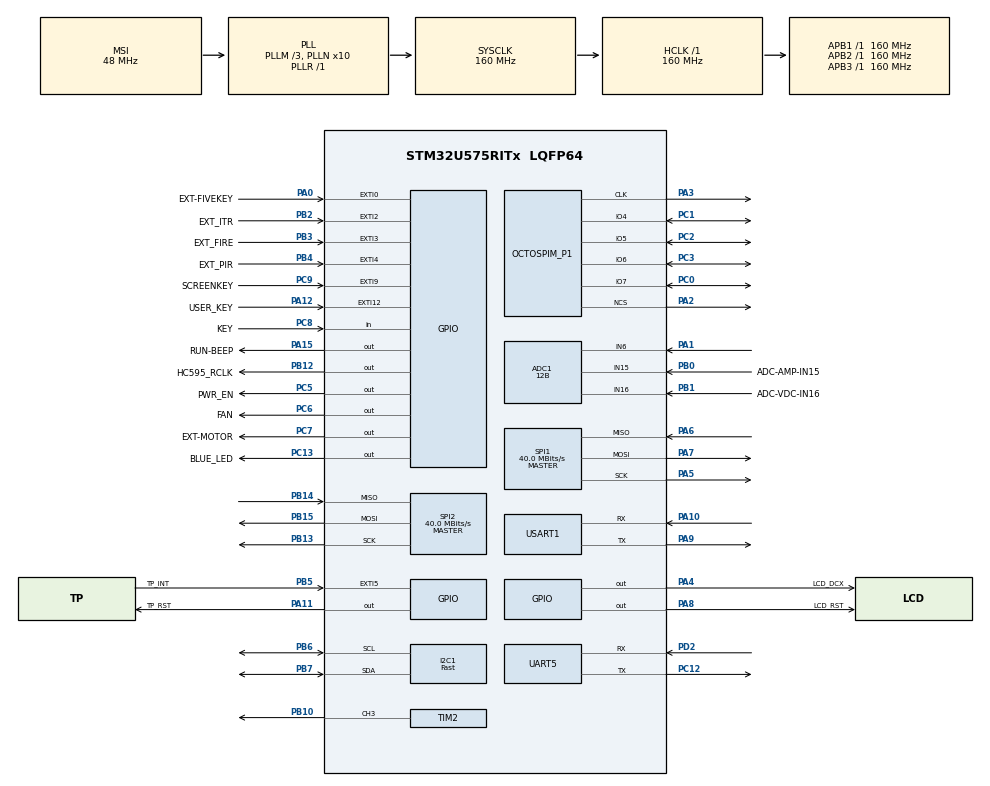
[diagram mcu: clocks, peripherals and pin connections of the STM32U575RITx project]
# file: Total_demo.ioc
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ADC1.Channel-0\#ChannelRegularConversion=ADC_CHANNEL_6
ADC1.Channel-1\#ChannelRegularConversion=ADC_CHANNEL_15
ADC1.Channel-2\#ChannelRegularConversion=ADC_CHANNEL_16
ADC1.Channel-3\#ChannelRegularConversion=ADC_CHANNEL_TEMPSENSOR
ADC1.Channel-4\#ChannelRegularConversion=ADC_CHANNEL_VREFINT
ADC1.Channel-5\#ChannelRegularConversion=ADC_CHANNEL_VBAT
ADC1.ClockPrescaler=ADC_CLOCK_ASYNC_DIV1
ADC1.ContinuousConvMode=ENABLE
ADC1.ConversionDataManagement=ADC_CONVERSIONDATA_DMA_CIRCULAR
ADC1.EnableInjectedConversion=DISABLE
ADC1.EnableRegularConversion=ENABLE
ADC1.MonitoredBy-0\#ChannelRegularConversion=__NULL
ADC1.MonitoredBy-1\#ChannelRegularConversion=__NULL
ADC1.MonitoredBy-2\#ChannelRegularConversion=__NULL
ADC1.MonitoredBy-3\#ChannelRegularConversion=__NULL
ADC1.MonitoredBy-4\#ChannelRegularConversion=__NULL
ADC1.MonitoredBy-5\#ChannelRegularConversion=__NULL
ADC1.NbrOfConversion=6
ADC1.NbrOfConversionFlag=1
ADC1.OffsetNumber-0\#ChannelRegularConversion=ADC_OFFSET_NONE
ADC1.OffsetNumber-1\#ChannelRegularConversion=ADC_OFFSET_NONE
ADC1.OffsetNumber-2\#ChannelRegularConversion=ADC_OFFSET_NONE
ADC1.OffsetNumber-3\#ChannelRegularConversion=ADC_OFFSET_NONE
ADC1.OffsetNumber-4\#ChannelRegularConversion=ADC_OFFSET_NONE
ADC1.OffsetNumber-5\#ChannelRegularConversion=ADC_OFFSET_NONE
ADC1.Rank-0\#ChannelRegularConversion=1
ADC1.Rank-1\#ChannelRegularConversion=2
ADC1.Rank-2\#ChannelRegularConversion=3
ADC1.Rank-3\#ChannelRegularConversion=4
ADC1.Rank-4\#ChannelRegularConversion=5
ADC1.Rank-5\#ChannelRegularConversion=6
ADC1.Resolution=ADC_RESOLUTION_12B
ADC1.SamplingTime-0\#ChannelRegularConversion=ADC_SAMPLETIME_391CYCLES_5
ADC1.SamplingTime-1\#ChannelRegularConversion=ADC_SAMPLETIME_391CYCLES_5
ADC1.SamplingTime-2\#ChannelRegularConversion=ADC_SAMPLETIME_391CYCLES_5
ADC1.SamplingTime-3\#ChannelRegularConversion=ADC_SAMPLETIME_391CYCLES_5
ADC1.SamplingTime-4\#ChannelRegularConversion=ADC_SAMPLETIME_391CYCLES_5
ADC1.SamplingTime-5\#ChannelRegularConversion=ADC_SAMPLETIME_391CYCLES_5
ADC1.master=1
CORTEX_M33_NS.userName=CORTEX_M33
GPDMA1.CIRCULARMODE_GPDMACH1=ENABLE
GPDMA1.DESTDATAWIDTH_GPDMACH0=DMA_DEST_DATAWIDTH_HALFWORD
GPDMA1.DESTDATAWIDTH_GPDMACH1=DMA_DEST_DATAWIDTH_HALFWORD
GPDMA1.DESTINC_GPDMACH1=DMA_DINC_INCREMENTED
GPDMA1.DIRECTION_GPDMACH0=DMA_MEMORY_TO_PERIPH
GPDMA1.IPHANDLE_GPDMACH0-SIMPLEREQUEST_GPDMACH0=__NULL
GPDMA1.IPHANDLE_GPDMACH1-SIMPLEREQUEST_GPDMACH1=__NULL
GPDMA1.LINKALLOCATEDPORT_CIRCULAR_GPDMACH1=DMA_LINK_ALLOCATED_PORT1
GPDMA1.PRIORITY_GPDMACH0=DMA_LOW_PRIORITY_HIGH_WEIGHT
GPDMA1.PRIORITY_LL_CIRCULAR_GPDMACH1=DMA_LOW_PRIORITY_HIGH_WEIGHT
GPDMA1.RECAP_GPDMACH1=GPDMA1_REQUEST_ADC1
GPDMA1.REQUEST_GPDMACH0=GPDMA1_REQUEST_SPI1_TX
GPDMA1.REQUEST_GPDMACH1=GPDMA1_REQUEST_ADC1
GPDMA1.SRCDATAWIDTH_GPDMACH0=DMA_SRC_DATAWIDTH_HALFWORD
GPDMA1.SRCDATAWIDTH_GPDMACH1=DMA_SRC_DATAWIDTH_HALFWORD
GPDMA1.SRCINC_GPDMACH0=DMA_SINC_INCREMENTED
GPDMA1.TRANSFERALLOCATEDPORTDEST_GPDMACH0=DMA_DEST_ALLOCATED_PORT1
GPDMA1.TRANSFERALLOCATEDPORTDEST_GPDMACH1=DMA_DEST_ALLOCATED_PORT1
GPDMA1.TRANSFERALLOCATEDPORTSRC_GPDMACH1=DMA_SRC_ALLOCATED_PORT1
I2C1.I2C_Speed_Mode=I2C_Fast
I2C1.Timing=0x00F07BFF
Mcu.Family=STM32U5
Mcu.Name=STM32U575RITx
Mcu.Package=LQFP64
NVIC.EXTI0_IRQn=true\:10\:0\:true\:false\:true\:true\:true\:true
NVIC.EXTI12_IRQn=true\:12\:0\:true\:false\:true\:true\:true\:true
NVIC.EXTI2_IRQn=true\:10\:0\:true\:false\:true\:true\:true\:true
NVIC.EXTI3_IRQn=true\:10\:0\:true\:false\:true\:true\:true\:true
NVIC.EXTI4_IRQn=true\:10\:0\:true\:false\:true\:true\:true\:true
NVIC.EXTI5_IRQn=true\:10\:0\:true\:false\:true\:true\:true\:true
NVIC.EXTI9_IRQn=true\:10\:0\:true\:false\:true\:true\:true\:true
NVIC.GPDMA1_Channel0_IRQn=true\:0\:0\:false\:false\:true\:false\:true\:true
NVIC.GPDMA1_Channel1_IRQn=true\:0\:0\:false\:false\:true\:false\:true\:true
NVIC.PriorityGroup=NVIC_PRIORITYGROUP_4
NVIC.SPI1_IRQn=true\:0\:0\:false\:false\:true\:true\:true\:true
NVIC.TIM16_IRQn=true\:13\:0\:true\:false\:true\:true\:true\:true
NVIC.TIM17_IRQn=true\:14\:0\:true\:false\:true\:true\:true\:true
NVIC.UART5_IRQn=true\:1\:0\:true\:false\:true\:true\:true\:true
OCTOSPI1.ClockMode=HAL_OSPI_CLOCK_MODE_3
OCTOSPI1.ClockPrescaler=2
OCTOSPI1.DeviceSize=24
OCTOSPI1.FifoThreshold=8
OCTOSPI1.SampleShifting=HAL_OSPI_SAMPLE_SHIFTING_HALFCYCLE
PA0.GPIO_Label=EXT-FIVEKEY
PA0.Signal=GPXTI0
PA1.Mode=IN6-Single-Ended
PA1.Signal=ADC1_IN6
PA10.Mode=Asynchronous
PA10.Signal=USART1_RX
PA11.GPIO_Label=TP_RST
PA11.Signal=GPIO_Output
PA12.GPIO_Label=USER_KEY
PA12.GPIO_ModeDefaultEXTI=GPIO_MODE_IT_FALLING
PA12.Signal=GPXTI12
PA15\ (JTDI).GPIO_Label=RUN-BEEP
PA15\ (JTDI).Signal=GPIO_Output
PA2.Mode=OCTOSPI1_Port1_NCS
PA2.Signal=OCTOSPIM_P1_NCS
PA3.Mode=O1_P1_CLK
PA3.Signal=OCTOSPIM_P1_CLK
PA4.GPIO_Label=LCD_DCX
PA4.GPIO_Speed=GPIO_SPEED_FREQ_VERY_HIGH
PA4.Signal=GPIO_Output
PA5.GPIO_Speed=GPIO_SPEED_FREQ_VERY_HIGH
PA5.Mode=Full_Duplex_Master
PA5.Signal=SPI1_SCK
PA6.GPIO_Speed=GPIO_SPEED_FREQ_VERY_HIGH
PA6.Mode=Full_Duplex_Master
PA6.Signal=SPI1_MISO
PA7.GPIO_Speed=GPIO_SPEED_FREQ_VERY_HIGH
PA7.Mode=Full_Duplex_Master
PA7.Signal=SPI1_MOSI
PA8.GPIO_Label=LCD_RST
PA8.GPIO_Speed=GPIO_SPEED_FREQ_HIGH
PA8.Signal=GPIO_Output
PA9.Mode=Asynchronous
PA9.Signal=USART1_TX
PB0.GPIO_Label=ADC-AMP-IN15
PB0.Mode=IN15-Single-Ended
PB0.Signal=ADC1_IN15
PB1.GPIO_Label=ADC-VDC-IN16
PB1.Mode=IN16-Single-Ended
PB1.Signal=ADC1_IN16
PB10.Signal=S_TIM2_CH3
PB12.GPIO_Label=HC595_RCLK
PB12.GPIO_Speed=GPIO_SPEED_FREQ_HIGH
PB12.Signal=GPIO_Output
PB13.GPIO_Speed=GPIO_SPEED_FREQ_VERY_HIGH
PB13.Mode=Full_Duplex_Master
PB13.Signal=SPI2_SCK
PB14.GPIO_Speed=GPIO_SPEED_FREQ_VERY_HIGH
PB14.Mode=Full_Duplex_Master
PB14.Signal=SPI2_MISO
PB15.GPIO_Speed=GPIO_SPEED_FREQ_VERY_HIGH
PB15.Mode=Full_Duplex_Master
PB15.Signal=SPI2_MOSI
PB2.GPIO_Label=EXT_ITR
PB2.GPIO_ModeDefaultEXTI=GPIO_MODE_IT_RISING_FALLING
PB2.Signal=GPXTI2
PB3\ (JTDO/TRACESWO).GPIO_Label=EXT_FIRE
PB3\ (JTDO/TRACESWO).GPIO_ModeDefaultEXTI=GPIO_MODE_IT_RISING_FALLING
PB3\ (JTDO/TRACESWO).Signal=GPXTI3
PB4\ (NJTRST).GPIO_Label=EXT_PIR
PB4\ (NJTRST).GPIO_ModeDefaultEXTI=GPIO_MODE_IT_RISING_FALLING
PB4\ (NJTRST).Signal=GPXTI4
PB5.GPIO_Label=TP_INT
PB5.GPIO_ModeDefaultEXTI=GPIO_MODE_IT_RISING_FALLING
PB5.GPIO_PuPd=GPIO_PULLUP
PB5.Signal=GPXTI5
PB6.Mode=I2C
PB6.Signal=I2C1_SCL
PB7.Mode=I2C
PB7.Signal=I2C1_SDA
PC0.Mode=OCTOSPI1_IOL_Port1H
PC0.Signal=OCTOSPIM_P1_IO7
PC1.Mode=OCTOSPI1_IOL_Port1H
PC1.Signal=OCTOSPIM_P1_IO4
PC12.Mode=Asynchronous
PC12.Signal=UART5_TX
PC13.GPIO_Label=BLUE_LED
PC13.Signal=GPIO_Output
PC14-OSC32_IN\ (PC14).Mode=LSE-External-Oscillator
PC14-OSC32_IN\ (PC14).Signal=RCC_OSC32_IN
PC15-OSC32_OUT\ (PC15).Mode=LSE-External-Oscillator
PC15-OSC32_OUT\ (PC15).Signal=RCC_OSC32_OUT
PC2.Mode=OCTOSPI1_IOL_Port1H
PC2.Signal=OCTOSPIM_P1_IO5
PC3.Mode=OCTOSPI1_IOL_Port1H
PC3.Signal=OCTOSPIM_P1_IO6
PC5.GPIO_Label=PWR_EN
PC5.PinState=GPIO_PIN_SET
PC5.Signal=GPIO_Output
PC6.GPIO_Label=FAN
PC6.Signal=GPIO_Output
PC7.GPIO_Label=EXT-MOTOR
PC7.Signal=GPIO_Output
PC8.GPIO_Label=KEY
PC8.Signal=GPIO_Input
PC9.GPIO_Label=SCREENKEY
PC9.GPIO_ModeDefaultEXTI=GPIO_MODE_IT_RISING_FALLING
PC9.Signal=GPXTI9
PD2.Mode=Asynchronous
PD2.Signal=UART5_RX
PH0-OSC_IN\ (PH0).Mode=HSE-External-Oscillator
PH0-OSC_IN\ (PH0).Signal=RCC_OSC_IN
PH1-OSC_OUT\ (PH1).Mode=HSE-External-Oscillator
PH1-OSC_OUT\ (PH1).Signal=RCC_OSC_OUT
ProjectManager.HeapSize=0x400
ProjectManager.StackSize=0x400
ProjectManager.TargetToolchain=MDK-ARM V5.32
RCC.ADCFreq_Value=16000000
RCC.AHBFreq_Value=160000000
RCC.APB1Freq_Value=160000000
RCC.APB1TimFreq_Value=160000000
RCC.APB2Freq_Value=160000000
RCC.APB2TimFreq_Value=160000000
RCC.APB3Freq_Value=160000000
RCC.CortexFreq_Value=160000000
RCC.EPOD_VALUE=48000000
RCC.HCLKFreq_Value=160000000
RCC.HSE_VALUE=12000000
RCC.HSI48_VALUE=48000000
RCC.HSI_VALUE=16000000
RCC.LSIDIV_VALUE=32000
RCC.MSIClockRange=RCC_MSIRANGE_0
RCC.MSI_VALUE=48000000
RCC.PLL1R=1
RCC.PLL2FRACN=0
RCC.PLL3FRACN=0
RCC.PLLFRACN=0
RCC.PLLM=3
RCC.PLLN=10
RCC.SYSCLKFreq_VALUE=160000000
RCC.SYSCLKSource=RCC_SYSCLKSOURCE_PLLCLK
RCC.USBFreq_Value=48000000
RCC.VCOOutputFreq_Value=160000000
RTC.Date=11
RTC.Format=RTC_FORMAT_BIN
RTC.Hours=15
RTC.Minutes=36
RTC.Month=RTC_MONTH_JULY
RTC.WeekDay=RTC_WEEKDAY_TUESDAY
RTC.Year=23
SH.S_TIM2_CH3.0=TIM2_CH3,PWM Generation3 CH3
SPI1.BaudRatePrescaler=SPI_BAUDRATEPRESCALER_4
SPI1.CalculateBaudRate=40.0 MBits/s
SPI1.DataSize=SPI_DATASIZE_8BIT
SPI1.Direction=SPI_DIRECTION_2LINES
SPI1.Mode=SPI_MODE_MASTER
SPI1.VirtualType=VM_MASTER
SPI2.BaudRatePrescaler=SPI_BAUDRATEPRESCALER_4
SPI2.CalculateBaudRate=40.0 MBits/s
SPI2.DataSize=SPI_DATASIZE_8BIT
SPI2.Direction=SPI_DIRECTION_2LINES
SPI2.MasterKeepIOState=SPI_MASTER_KEEP_IO_STATE_ENABLE
SPI2.Mode=SPI_MODE_MASTER
SPI2.NSSPMode=SPI_NSS_PULSE_DISABLE
SPI2.ReadyPolarity=SPI_RDY_POLARITY_LOW
SPI2.VirtualType=VM_MASTER
STMicroelectronics.X-CUBE-TOUCHGFX.4.21.2.ApplicationCcGraphicsJjApplication=TouchGFXOoGenerator
STMicroelectronics.X-CUBE-TOUCHGFX.4.21.2.tgfx_custom_height=240
STMicroelectronics.X-CUBE-TOUCHGFX.4.21.2.tgfx_custom_width=320
STMicroelectronics.X-CUBE-TOUCHGFX.4.21.2.tgfx_hardware_accelerator=dma_custom
STMicroelectronics.X-CUBE-TOUCHGFX.4.21.2_IsPackSelfContextualization=true
TIM16.AutoReloadPreload=TIM_AUTORELOAD_PRELOAD_ENABLE
TIM16.PeriodNoDither=5000-1
TIM16.Prescaler=160-1
TIM17.AutoReloadPreload=TIM_AUTORELOAD_PRELOAD_ENABLE
TIM17.PeriodNoDither=10000-1
TIM17.Prescaler=1600-1
TIM2.AutoReloadPreload=TIM_AUTORELOAD_PRELOAD_ENABLE
TIM2.Channel-PWM\ Generation3\ CH3=TIM_CHANNEL_3
TIM2.PeriodNoDither=1000-1
TIM2.Prescaler=64-1
TIM2.PulseNoDither_3=500-1
USART1.VirtualMode-Asynchronous=VM_ASYNC
VP_ADC1_TempSens_Input.Mode=IN-TempSens
VP_ADC1_Vbat_Input.Mode=IN-Vbat
VP_ADC1_Vref_Input.Mode=IN-Vrefint
VP_CRC_VS_CRC.Mode=CRC_Activate
VP_GPDMA1_VS_GPDMACH0.Mode=SIMPLEREQUEST_GPDMACH0
VP_GPDMA1_VS_GPDMACH1.Mode=SIMPLEREQUEST_GPDMACH1
VP_ICACHE_VS_ENABLE_ICACHE_MEMORY.Mode=Memoryregions
VP_ICACHE_VS_ICACHE.Mode=DirectMappedCache
VP_LPBAMQUEUE_VS_QUEUE.Mode=QUEUEMODE
VP_LPBAM_VS_SIG1.Mode=SmartRun
VP_LPBAM_VS_SIG4.Mode=LPDMA1
VP_OCTOSPI1_VS_quad.Mode=quad_mode
VP_PWR_VS_DBSignals.Mode=DisableDeadBatterySignals
VP_PWR_VS_LPOM.Mode=PowerOptimisation
VP_PWR_VS_SECSignals.Mode=Security/Privilege
VP_RTC_VS_RTC_Activate.Mode=RTC_Enabled
VP_RTC_VS_RTC_Calendar.Mode=RTC_Calendar
VP_STMicroelectronics.X-CUBE-TOUCHGFX_VS_GraphicsJjApplication_4.21.2.Mode=GraphicsJjApplication
VP_TIM16_VS_ClockSourceINT.Mode=Enable_Timer
VP_TIM17_VS_ClockSourceINT.Mode=Enable_Timer
board=custom

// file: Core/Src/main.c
/* USER CODE BEGIN Header */
/**
  ******************************************************************************
  * @file           : main.c
  * @brief          : Main program body
  ******************************************************************************
  * @attention
  *
  * Copyright (c) 2023 STMicroelectronics.
  * All rights reserved.
  *
  * This software is licensed under terms that can be found in the LICENSE file
  * in the root directory of this software component.
  * If no LICENSE file comes with this software, it is provided AS-IS.
  *
  ******************************************************************************
  */
/* USER CODE END Header */
#include "main.h"
#include "adc.h"
#include "crc.h"
#include "gpdma.h"
#include "i2c.h"
#include "icache.h"
#include "octospi.h"
#include "rtc.h"
#include "spi.h"
#include "tim.h"
#include "usart.h"
#include "gpio.h"
#include "app_touchgfx.h"

/* USER CODE BEGIN Includes */
#include "user_app.h"		//用户应用程序

//
/* USER CODE END Includes */

/* USER CODE BEGIN PD */
#define	ADC_CONVERTED_DATA_BUFFER_SIZE	6
/* USER CODE END PD */

/* USER CODE BEGIN PV */
uint8_t gChatCount = 10;  //全局按键按压计数
uint8_t KeyChangeScreen=0;
static uint8_t gTaskIndex = 0x00;  //系统任务索引变量
ADC_ValTypeDef gStruADC={0,0,0,0,0,0}; //A/D通道实时采集的数�?
uint16_t ADC_KEY=0;
extern gTask_MarkEN gTaskEnMark;  //系统任务使能标识
extern volatile uint8_t gBacklightVal;	//背光值，默认50%
extern volatile uint8_t TcpClosedFlag;
volatile uint8_t gRX3_BufF[1];	//串口3-wifi模组接收到的数据
/* USER CODE END PV */

void SystemClock_Config(void);
static void SystemPower_Config(void);
/* USER CODE BEGIN PFP */
extern void touchgfx_signalVSynTimer(void);
extern gTask_BitDef gTaskStateBit;  //任务执行过程中使用到的标志位
/* USER CODE END PFP */

/* USER CODE BEGIN 0 */
/**************************关闭标准库下的半主机模式****************************/
__ASM (".global __use_no_semihosting");	//AC6编译�?
//标准库需要的支持函数
struct FILE
{
  int handle;
};
FILE __stdout;
//定义_sys_exit()以避免使用半主机模式
void _sys_exit(int x)
{
  x = x;
}
void _ttywrch(int ch)
{
  ch = ch;
}
//printf实现重定�?
int fputc(int ch, FILE *f)
{
	uint8_t temp[1] = {ch};
	HAL_UART_Transmit(&huart1, temp, 1, 2);
	return ch;
}
uint32_t flag=0;
/******************************************************************************/
//
/*******************************************************************************
*	�? �? �?: OSPI_W25Qxx_mmap
*	入口参数: �?
*	�? �? �?: �?
*	函数功能: 设置为内存映射模�?
*	�?    �?: �?
*******************************************************************************/
void OSPI_W25Qxx_mmap(void)		//Flash读写测试
{
	int32_t OSPI_Status ; 		 //�?测标志位
	//
	OSPI_Status = OSPI_W25Qxx_MemoryMappedMode(); //配置OSPI为内存映射模�?
	if( OSPI_Status == OSPI_W25Qxx_OK )
	{
		printf ("\r\n内存映射模式设置成功>>>>\r\n");
	}
	else
	{
		printf ("\r\n内存映射模式设置失败>>>>\r\n");
		Error_Handler();
	}
}
/* USER CODE BEGIN 0 */

/* USER CODE END 0 */

int main(void)
{

  /* MCU Configuration--------------------------------------------------------*/

  /* Reset of all peripherals, Initializes the Flash interface and the Systick. */
  HAL_Init();

  /* Configure the system clock */
  SystemClock_Config();

  /* Configure the System Power */
  SystemPower_Config();

  /* Initialize all configured peripherals */
  MX_GPIO_Init();
  MX_GPDMA1_Init();
  MX_OCTOSPI1_Init();
  MX_SPI1_Init();
  MX_CRC_Init();
  MX_I2C1_Init();
  MX_TIM16_Init();
  MX_TIM17_Init();
  MX_USART1_UART_Init();
  MX_RTC_Init();
  MX_ADC1_Init();
  MX_SPI2_Init();
  MX_TIM2_Init();
  MX_UART5_Init();
  MX_ICACHE_Init();
  MX_TouchGFX_Init();
  /* USER CODE BEGIN 2 */
	for(gTaskIndex = 0;gTaskIndex < OS_TASKLISTCNT;gTaskIndex++)	g_OSTsakList[gTaskIndex]=NULL;   //清空任务列表
  //NOR Flash初始�?
  OSPI_W25Qxx_Init();	//初始化W25Q128
  OSPI_W25Qxx_mmap();	//设置为内存映射模�?

  ILI9341_Init();	//显示屏初始化
  FT6336_init();	//触摸屏初始化
	mpu_init_dmp();	//mpu6050 dmp初始�?
	ltr553_init();	//环境光传感器初始�?
	//ESP8266初始化，HAL库使用USART3
	ESP8266_Init(&huart5,(uint8_t *)gRX3_BufF,115200);
	//ESP8266_STA_TCPClient_Test();//TCP测试，进入子函数While(1)
	//ESP8266_STA_MQTTClient_Test();//MQTT测试，进入子函数While(1)
	//系统时间初始�?
	System_Time_init();
	//使能ADC电源
	HAL_PWREx_EnableVddA();
  HAL_PWREx_EnableVddIO2();
	//ADC校准
  if (HAL_ADCEx_Calibration_Start(&hadc1, ADC_CALIB_OFFSET, ADC_SINGLE_ENDED) != HAL_OK)
  {
    /* Calibration Error */
    Error_Handler();
  }
  /* USER CODE END 2 */

  /* Infinite loop */
  /* USER CODE BEGIN WHILE */
  HAL_TIM_Base_Start_IT(&htim16);//�?启定时器16�?�?,系统任务调度�?�?
  HAL_TIM_Base_Start_IT(&htim17);//�?启定时器17�?�?,设备控制任务�?�?
	//PWM输出启动-背光亮度
	Update_Backlight(gBacklightVal);	//设置背光亮度
	//启动ADC组与DMA的常规转�?
  if (HAL_ADC_Start_DMA(&hadc1,(uint32_t *)&gStruADC,ADC_CONVERTED_DATA_BUFFER_SIZE) != HAL_OK)	{Error_Handler();}
	//主循�?
  while (1)
  {
    /* USER CODE END WHILE */

  MX_TouchGFX_Process();
    /* USER CODE BEGIN 3 */
		for(gTaskIndex = 0;gTaskIndex < OS_TASKLISTCNT;gTaskIndex++)
		{
			if((*g_OSTsakList[gTaskIndex]) != NULL)
			{
				g_OSTsakList[gTaskIndex]();
				g_OSTsakList[gTaskIndex] = NULL;
			}
		}

  }
  /* USER CODE END 3 */
}

void SystemClock_Config(void)
{
  RCC_OscInitTypeDef RCC_OscInitStruct = {0};
  RCC_ClkInitTypeDef RCC_ClkInitStruct = {0};

  /** Configure the main internal regulator output voltage
  */
  if (HAL_PWREx_ControlVoltageScaling(PWR_REGULATOR_VOLTAGE_SCALE1) != HAL_OK)
  {
    Error_Handler();
  }

  /** Initializes the CPU, AHB and APB buses clocks
  */
  RCC_OscInitStruct.OscillatorType = RCC_OSCILLATORTYPE_HSI|RCC_OSCILLATORTYPE_LSI
                              |RCC_OSCILLATORTYPE_MSI;
  RCC_OscInitStruct.HSIState = RCC_HSI_ON;
  RCC_OscInitStruct.HSICalibrationValue = RCC_HSICALIBRATION_DEFAULT;
  RCC_OscInitStruct.LSIState = RCC_LSI_ON;
  RCC_OscInitStruct.MSIState = RCC_MSI_ON;
  RCC_OscInitStruct.MSICalibrationValue = RCC_MSICALIBRATION_DEFAULT;
  RCC_OscInitStruct.MSIClockRange = RCC_MSIRANGE_0;
  RCC_OscInitStruct.LSIDiv = RCC_LSI_DIV1;
  RCC_OscInitStruct.PLL.PLLState = RCC_PLL_ON;
  RCC_OscInitStruct.PLL.PLLSource = RCC_PLLSOURCE_MSI;
  RCC_OscInitStruct.PLL.PLLMBOOST = RCC_PLLMBOOST_DIV4;
  RCC_OscInitStruct.PLL.PLLM = 3;
  RCC_OscInitStruct.PLL.PLLN = 10;
  RCC_OscInitStruct.PLL.PLLP = 2;
  RCC_OscInitStruct.PLL.PLLQ = 2;
  RCC_OscInitStruct.PLL.PLLR = 1;
  RCC_OscInitStruct.PLL.PLLRGE = RCC_PLLVCIRANGE_1;
  RCC_OscInitStruct.PLL.PLLFRACN = 0;
  if (HAL_RCC_OscConfig(&RCC_OscInitStruct) != HAL_OK)
  {
    Error_Handler();
  }

  /** Initializes the CPU, AHB and APB buses clocks
  */
  RCC_ClkInitStruct.ClockType = RCC_CLOCKTYPE_HCLK|RCC_CLOCKTYPE_SYSCLK
                              |RCC_CLOCKTYPE_PCLK1|RCC_CLOCKTYPE_PCLK2
                              |RCC_CLOCKTYPE_PCLK3;
  RCC_ClkInitStruct.SYSCLKSource = RCC_SYSCLKSOURCE_PLLCLK;
  RCC_ClkInitStruct.AHBCLKDivider = RCC_SYSCLK_DIV1;
  RCC_ClkInitStruct.APB1CLKDivider = RCC_HCLK_DIV1;
  RCC_ClkInitStruct.APB2CLKDivider = RCC_HCLK_DIV1;
  RCC_ClkInitStruct.APB3CLKDivider = RCC_HCLK_DIV1;

  if (HAL_RCC_ClockConfig(&RCC_ClkInitStruct, FLASH_LATENCY_4) != HAL_OK)
  {
    Error_Handler();
  }
}

/**
  * @brief Power Configuration
  * @retval None
  */
static void SystemPower_Config(void)
{

  /*
   * Disable the internal Pull-Up in Dead Battery pins of UCPD peripheral
   */
  HAL_PWREx_DisableUCPDDeadBattery();
}

/* USER CODE BEGIN 4 */
//定时�?16/17的任务分�?
void HAL_TIM_PeriodElapsedCallback(TIM_HandleTypeDef *htim)
{
	static uint8_t p_Time16Cnt = 0,p_Time17Cnt = 0;
	/***************************************************************************************/
	//定时�?16进行5ms任务中断
	if (htim->Instance == htim16.Instance)
	{
		p_Time16Cnt++;
		//
		if(!(p_Time16Cnt % 4))  //20ms(50Hz)进行触发刷新
		{
			touchgfx_signalVSynTimer();  //touchgfx用户接口
		}
		//
		//五项按键读取
		if(!(p_Time16Cnt % 20))  //100ms进行�?次窗口更�?
		{
			if(gTaskEnMark.UPDATE_FIVEKEY_EN) g_OSTsakList[eUPDATE_FIVEKEY] = Update_FiveKey_Value; 	//更新五向键数�?
		}
		//蜂鸣器与数码管控制
		if(!(p_Time16Cnt % 30))  //150ms�?查USER按键，蜂鸣器打开
		{
			if(!HAL_GPIO_ReadPin(USER_KEY_GPIO_Port,USER_KEY_Pin))	//按下低电平，打开蜂鸣器
			{
				HAL_GPIO_WritePin(RUN_BEEP_GPIO_Port, RUN_BEEP_Pin, GPIO_PIN_SET);
			}
			else
			{
				HAL_GPIO_WritePin(RUN_BEEP_GPIO_Port, RUN_BEEP_Pin, GPIO_PIN_RESET);	//释放高电平，关闭蜂鸣器
			}
		}
        /*
		//数码管位切换,5ms调用�?�?
		if(gTaskEnMark.UPDATE_NIXIE_SHOW_EN) g_OSTsakList[eUPDATE_NIXIE_SHOW] = Update_NixieDisplay; 	//数码管显示
		//1000ms运行�?次，系统运行指示�?
		if(!(p_Time16Cnt % 200))
		{
			p_Time16Cnt = 0;
			RUN_LED_TURN_STATE();
		}
        */
	}
	/***************************************************************************************/
	//定时�?17进行100ms任务中断
	if (htim->Instance == htim17.Instance)
	{
		p_Time17Cnt++;
		if(!(p_Time17Cnt % 2))  //200ms进行�?次下列代�?
		{
			if(gTaskEnMark.UPDATE_SIX_AXIS_EN) g_OSTsakList[eUPDATE_SIX_AXIS] = Update_EulerAngle; 	//欧拉角更�?
		}
		if(!(p_Time17Cnt % 4))  //300ms进行�?次下列代�?
		{
			if(gTaskEnMark.UPDATE_APP_TASK_EN) g_OSTsakList[eUPDATE_APP_INFO] = Update_AppPageInfo;	//更新电压、电流�?�温湿度、光照度
		}
		if(!(p_Time17Cnt % 5))  //500ms进行�?次下列代�?
		{
			if(gTaskEnMark.UPDATE_WIFI_RSSI_EN) g_OSTsakList[eUPDATE_WIFI_RSSI] = ESP8266_RSSI_Task;  // 获取WiFi RSSI
		}
		if(!(p_Time17Cnt % 10))  //1s进行�?次下列代�?
		{
			if(gTaskEnMark.UPDATE_TIME_EN) g_OSTsakList[eUPDATE_TIME] = Update_System_Time; 	//系统时间更新
		}
		if(!(p_Time17Cnt % 20))  //2s进行�?次下列代�?
		{
			if(gTaskEnMark.UPDATE_CHIPINFO_EN) g_OSTsakList[eUPDATE_CHIPINFO] = Update_ChipInfo; 	//系统信息更新
		}
		if(!(p_Time17Cnt % 30))  //3s进行�?次下列代�?
		{
			if((gTaskEnMark.UPDATE_HEART_RATE_EN) && (!gTaskStateBit.Max30102)) g_OSTsakList[eUPDATE_HEART_RATE] = Update_HeartRateInfo; 	//获取健康信息
		}
		if(!(p_Time17Cnt % 100))  //10s进行�?次下列代�?
		{
			p_Time17Cnt = 0;
		}
	}
	/***************************************************************************************/
  /* Prevent unused argument(s) compilation warning */
  UNUSED(htim);
}
/**
  * @brief  EXTI line rising detection callback.
  * @param  GPIO_Pin: Specifies the port pin connected to corresponding EXTI line.
  * @retval None
  */
void HAL_GPIO_EXTI_Falling_Callback(uint16_t GPIO_Pin)
{
  /* Prevent unused argument(s) compilation warning */
	UNUSED(GPIO_Pin);
	//触摸按下事件
	if((!HAL_GPIO_ReadPin(TP_INT_GPIO_Port,TP_INT_Pin)) && (GPIO_Pin == TP_INT_Pin))
	{
		gTaskStateBit.TouchPress = 1;
	}
	if(!HAL_GPIO_ReadPin(USER_KEY_GPIO_Port,USER_KEY_Pin))
	{
		gChatCount = gChatCount + 10;
		if(gChatCount>=100) gChatCount=10;
	}
		//火焰状�?�读取，释放状�?�为低电平，上报TouchGFX显示
	if((!HAL_GPIO_ReadPin(EXT_FIRE_GPIO_Port,EXT_FIRE_Pin)) && (GPIO_Pin == EXT_FIRE_Pin))
	{
		gTaskStateBit.ExtFIRE = 0;
	}
	//光电�?关状态读取，释放状�?�为低电平，联动蜂鸣�?-�?
	if((!HAL_GPIO_ReadPin(EXT_ITR_GPIO_Port,EXT_ITR_Pin)) && (GPIO_Pin == EXT_ITR_Pin))
	{
		gTaskStateBit.ExtITR = 0;
		HAL_GPIO_WritePin(RUN_BEEP_GPIO_Port,RUN_BEEP_Pin,GPIO_PIN_RESET);	//关蜂鸣器
	}
	//人体红外状�?�读取，释放状�?�为低电平，联动直流风扇-�?
	if(!HAL_GPIO_ReadPin(EXT_PIR_GPIO_Port,EXT_PIR_Pin))
	{
		gTaskStateBit.ExtPIR = 0;
		HAL_GPIO_WritePin(FAN_GPIO_Port,FAN_Pin,GPIO_PIN_RESET);	//关闭风扇
	}
}
void HAL_GPIO_EXTI_Rising_Callback(uint16_t GPIO_Pin)
{
  /* Prevent unused argument(s) compilation warning */
	UNUSED(GPIO_Pin);
	//触摸释放事件
	if(HAL_GPIO_ReadPin(TP_INT_GPIO_Port,TP_INT_Pin) && gTaskStateBit.TouchPress)
	{
		FT6336_irq_fuc();	//触摸中断产生
		gTaskStateBit.TouchPress = 0;	//清除触摸标志
	}
		//光电�?关状态读取，初始状�?�低电平，联动蜂鸣器-�?
	if(HAL_GPIO_ReadPin(EXT_ITR_GPIO_Port,EXT_ITR_Pin) && (GPIO_Pin == EXT_ITR_Pin))
	{
		gTaskStateBit.ExtITR = 1;
		HAL_GPIO_WritePin(RUN_BEEP_GPIO_Port,RUN_BEEP_Pin,GPIO_PIN_SET);	//打开蜂鸣器
	}
	//五向按键按下
	if(HAL_GPIO_ReadPin(EXT_FIVEKEY_GPIO_Port,EXT_FIVEKEY_Pin) && (GPIO_Pin == EXT_FIVEKEY_Pin))
	{
		gTaskStateBit.FiveKeyPress = 1;
	}
	//火焰状�?�读取，初始状�?�低电平，上报TouchGFX显示
	if(HAL_GPIO_ReadPin(EXT_FIRE_GPIO_Port,EXT_FIRE_Pin) && (GPIO_Pin == EXT_FIRE_Pin))
	{
		gTaskStateBit.ExtFIRE = 1;
	}
	//人体红外状�?�读取，初始状�?�低电平，联动直流风�?-�?
	if(HAL_GPIO_ReadPin(EXT_PIR_GPIO_Port,EXT_PIR_Pin) && (GPIO_Pin == EXT_PIR_Pin))
	{
		gTaskStateBit.ExtPIR = 1;
		HAL_GPIO_WritePin(FAN_GPIO_Port,FAN_Pin,GPIO_PIN_SET);	//打开风扇
	}
	//物理按键的页面切�?
	if(HAL_GPIO_ReadPin(SCREENKEY_GPIO_Port,SCREENKEY_Pin) && (GPIO_Pin == SCREENKEY_Pin))
	{
		KeyChangeScreen = 1;
	}
}
/**
  * @brief  Conversion complete callback in non blocking mode
  * @param  hadc: ADC handle
  * @note   This example shows a simple way to report end of conversion
  *         and get conversion result. You can add your own implementation.
  * @retval None
  */
void HAL_ADC_ConvCpltCallback(ADC_HandleTypeDef *hadc)
{
  //更新DMA传输状�?�标�?
  gTaskStateBit.ADCC = 1;
}
/**
  * @brief  Rx Transfer completed callback.
  * @param  huart UART handle.
  * @retval None
  */
void HAL_UART_RxCpltCallback(UART_HandleTypeDef *huart)
{
	//USART3接收数据
	if (huart->Instance == UART5)
	{
		if(ESP8266_Fram_Record_Struct .InfBit .FramLength < ( RX_BUF_MAX_LEN - 1 ) ) 	//接收到的数据存储至buffer
		{
			//留最后一位做结束�?
			ESP8266_Fram_Record_Struct .Data_RX_BUF[ ESP8266_Fram_Record_Struct .InfBit .FramLength ++ ]  = gRX3_BufF[0];
			//UART3�?启下�?次接�?
			HAL_UART_Receive_IT(&huart5,(uint8_t *)&gRX3_BufF, 1);//接收�?个字�?
		}
	}

}
/**
  * @brief  UART Abort Receive Complete callback.
  * @param  huart UART handle.
  * @retval None
  */
void HAL_UART_AbortReceiveCpltCallback(UART_HandleTypeDef *huart)
{
	//USART3帧传输完成，产生空闲
	if (huart->Instance == UART5)
	{
		ESP8266_Fram_Record_Struct .InfBit .FramFinishFlag = 1;	//帧传输完成标�?
		TcpClosedFlag = strstr ( ESP8266_Fram_Record_Struct .Data_RX_BUF, "CLOSED\r\n" ) ? 1 : 0;	//判断连接
		//UART3�?启下�?次接�?
		HAL_UART_Receive_IT(&huart5,(uint8_t *)&gRX3_BufF, 1);//接收�?个字�?
	}
}
/* USER CODE END 4 */

void Error_Handler(void)
{
  __disable_irq();
  while (1)
  {
  }
}
